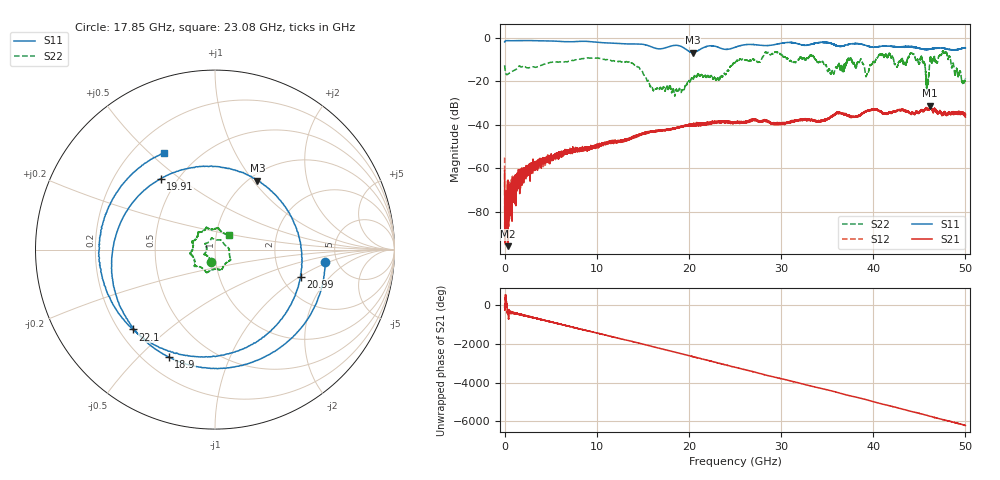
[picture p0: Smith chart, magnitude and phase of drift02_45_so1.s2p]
!Created with skrf (http://scikit-rf.org).
# Hz S RI R 50.0
!freq ReS11 ImS11 ReS21 ImS21 ReS12 ImS12 ReS22 ImS22
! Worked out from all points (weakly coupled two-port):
!   10001 points, 300 kHz to 50 GHz, reference 50 ohm
!   highest |S21| = -31.33 dB at 46.18 GHz (marker M1); lowest = -95.9 dB at 370.3 MHz (marker M2)
!   lowest |S11| = -6.9 dB at 20.41 GHz (marker M3), VSWR 2.64, Z = 54.6 + j52.6 ohm
!   |S11| at or under -10 dB: nowhere
!   |S22| runs from -26.9 to -6.1 dB; largest |S21 - S12| = 0.0029
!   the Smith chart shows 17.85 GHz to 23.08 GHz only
!   S11 on the Smith chart (normalised r, x): 17.85 GHz: 4.03, -0.88; 18.9 GHz: 0.30, -0.62; 19.91 GHz: 0.41, +0.43; 20.99 GHz: 2.53, -1.03; 22.1 GHz: 0.26, -0.38; 23.08 GHz: 0.32, +0.56
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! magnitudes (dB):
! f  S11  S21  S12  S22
! 300 kHz  -2.1  -61.3  -55.2  -12.7
! 370.3 MHz  -1.4  -95.9  -70.4  -16.8
! 2.995 GHz  -1.4  -60.0  -58.9  -13.5
! 8.335 GHz  -1.7  -51.1  -51.0  -9.7
! 13.71 GHz  -2.9  -46.5  -46.4  -11.7
! 16.67 GHz  -5.2  -42.9  -42.9  -23.6
! 17.85 GHz  -4.2  -42.2  -42.2  -22.9
! 18.9 GHz  -3.7  -41.4  -41.2  -24.0
! 19.91 GHz  -6.1  -40.3  -40.2  -19.8
! 20.41 GHz  -6.9  -40.4  -40.0  -19.2
! 20.99 GHz  -6.0  -39.8  -39.7  -16.7
! 22.1 GHz  -3.9  -39.7  -39.4  -17.6
! 23.08 GHz  -4.3  -38.9  -38.9  -18.9
! 25 GHz  -4.5  -38.6  -38.9  -11.6
! 33.34 GHz  -3.0  -37.6  -38.0  -8.4
! 39.33 GHz  -3.8  -33.9  -33.6  -16.7
! 41.67 GHz  -3.9  -34.7  -34.9  -7.7
! 44.26 GHz  -4.3  -34.7  -34.5  -7.4
! 45.85 GHz  -5.5  -33.0  -32.8  -21.7
! 46.18 GHz  -5.2  -31.3  -32.1  -10.1
! 47.75 GHz  -5.0  -34.0  -34.3  -6.8
! 50 GHz  -4.7  -36.6  -35.7  -18.8
